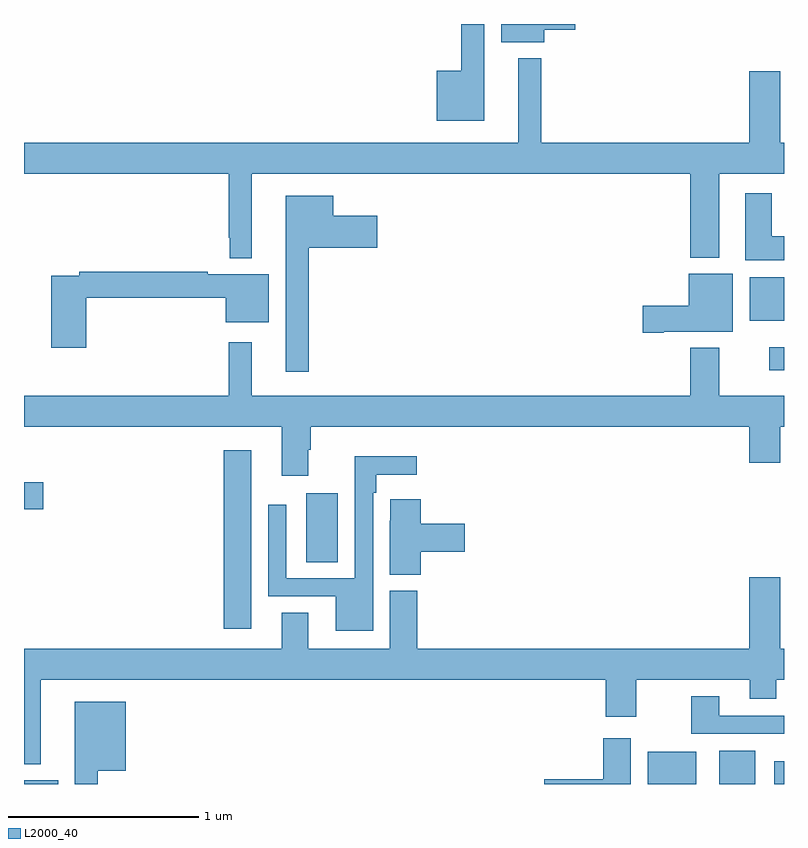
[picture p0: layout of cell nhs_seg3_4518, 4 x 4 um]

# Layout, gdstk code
import gdstk
lib = gdstk.Library(unit=1e-6, precision=1e-09)
def R(c, l, rs):  # rectangles x0, y0, x1, y1
    for r in rs: c.add(gdstk.rectangle(r[:2], r[2:], *l))
def P(c, l, *ps):  # polygons
    for p in ps: c.add(gdstk.Polygon(p, *l))
L2000_40 = (2000, 40)

nhs_seg3_4518 = lib.new_cell('nhs_seg3_4518')
R(nhs_seg3_4518, L2000_40, [(353,668.4,353.179,668.419), (356.282,668.4,356.539,668.569), (356.66,668.4,356.848,668.575), (356.948,668.4,357,668.521), (354.05,669.216,354.196,670.156), (354.485,669.568,354.652,669.931), (353,669.845,353.101,669.987), (356.922,670.577,357,670.699), (356.819,670.838,357,671.068)])
P(nhs_seg3_4518, L2000_40, [(355.738,672.371),(355.9,672.371),(355.9,672.4),(355.511,672.4),(355.511,672.305),(355.738,672.305)],
  [(355.423,672.4),(355.302,672.4),(355.302,672.154),(355.172,672.154),(355.172,671.891),(355.423,671.891)],
  [(354.199,671.612),(356.507,671.612),(356.507,671.171),(356.659,671.171),(356.659,671.612),(357,671.612),(357,671.776),(356.98,671.776),(356.98,672.151),(356.816,672.151),(356.816,671.776),(355.723,671.776),(355.723,672.22),(355.601,672.22),(355.601,671.776),(353,671.776),(353,671.612),(354.078,671.612),(354.078,671.275),(354.084,671.275),(354.084,671.168),(354.199,671.168)],
  [(357,671.284),(356.935,671.284),(356.935,671.509),(356.795,671.509),(356.795,671.156),(357,671.156)],
  [(354.499,671.222),(354.859,671.222),(354.859,671.392),(354.628,671.392),(354.628,671.497),(354.377,671.497),(354.377,670.569),(354.499,670.569)],
  [(353.327,670.96),(354.062,670.96),(354.062,670.829),(354.289,670.829),(354.289,671.083),(353.966,671.083),(353.966,671.096),(353.29,671.096),(353.29,671.076),(353.144,671.076),(353.144,670.695),(353.327,670.695)],
  [(356.368,670.781),(356.731,670.781),(356.731,671.086),(356.498,671.086),(356.498,670.916),(356.256,670.916),(356.256,670.774),(356.368,670.774)],
  [(356.659,670.696),(356.507,670.696),(356.507,670.444),(354.199,670.444),(354.199,670.726),(354.078,670.726),(354.078,670.444),(353,670.444),(353,670.28),(354.356,670.28),(354.356,670.023),(354.496,670.023),(354.496,670.16),(354.509,670.16),(354.509,670.28),(356.816,670.28),(356.816,670.092),(356.98,670.092),(356.98,670.28),(357,670.28),(357,670.444),(356.659,670.444)],
  [(354.837,669.932),(354.853,669.932),(354.853,670.028),(355.066,670.028),(355.066,670.126),(354.741,670.126),(354.741,669.483),(354.381,669.483),(354.381,669.871),(354.285,669.871),(354.285,669.387),(354.641,669.387),(354.641,669.206),(354.837,669.206)],
  [(355.088,669.623),(355.321,669.623),(355.321,669.77),(355.088,669.77),(355.088,669.898),(354.927,669.898),(354.927,669.785),(354.926,669.785),(354.926,669.502),(355.088,669.502)],
  [(353.089,668.948),(356.063,668.948),(356.063,668.754),(356.223,668.754),(356.223,668.948),(356.819,668.948),(356.819,668.849),(356.959,668.849),(356.959,668.948),(357,668.948),(357,669.112),(356.98,669.112),(356.98,669.487),(356.816,669.487),(356.816,669.112),(355.07,669.112),(355.07,669.417),(354.926,669.417),(354.926,669.112),(354.496,669.112),(354.496,669.302),(354.356,669.302),(354.356,669.112),(353,669.112),(353,668.504),(353.089,668.504)],
  [(357,668.76),(356.659,668.76),(356.659,668.863),(356.512,668.863),(356.512,668.664),(357,668.664)],
  [(353.389,668.471),(353.536,668.471),(353.536,668.833),(353.267,668.833),(353.267,668.4),(353.389,668.4)],
  [(356.194,668.641),(356.048,668.641),(356.048,668.426),(355.739,668.426),(355.739,668.4),(356.194,668.4)])

lib.write_gds('nhs_seg3_4518.gds')
